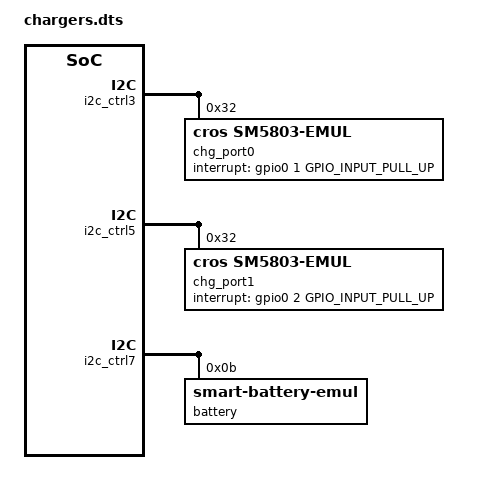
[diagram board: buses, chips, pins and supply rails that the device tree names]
/ {
	named-i2c-ports {
		i2c_ec_i2c_batt: ec_i2c_batt {
			i2c-port = <&i2c_ctrl7>;
			enum-names = "I2C_PORT_BATTERY";
		};
	};

	usbc {
		port0@0 {
			chg = <&chg_port0>;
		};
		port1@1 {
			chg = <&chg_port1>;
		};
	};

	batteries {
		default_battery: lgc {
			compatible = "lgc,ap18c8k", "battery-smart";
		};
	};
};

&i2c_ctrl3 {
	chg_port0: sm5803_primary@32 {
		compatible = "cros,sm5803-emul", "siliconmitus,sm5803";
		status = "okay";
		reg = <0x32>;
		interrupt-gpios = <&gpio0 1 GPIO_INPUT_PULL_UP>;
	};
};

&i2c_ctrl5 {
	chg_port1: sm5803_secondary@32 {
		compatible = "cros,sm5803-emul", "siliconmitus,sm5803";
		status = "okay";
		reg = <0x32>;
		interrupt-gpios = <&gpio0 2 GPIO_INPUT_PULL_UP>;
	};
};

&i2c_ctrl7 {
	battery: sb@b {
		compatible = "zephyr,smart-battery-emul";
		reg = <0xb>;
		cycle-count = <6>;
		version = "BATTERY_SPEC_VER_1_1_WITH_PEC";
		desired-charg-volt = <11250>;
		desired-charg-cur = <2400>;
		mf-name = "LGC";
		dev-name = "AP18C8K";
	};
};
